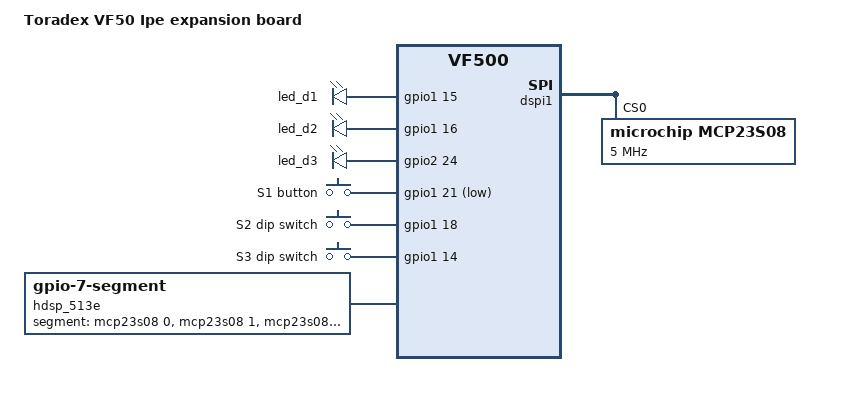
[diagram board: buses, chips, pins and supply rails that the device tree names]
/dts-v1/;

#include "vf500-colibri.dtsi"
#include "vf-colibri-eval-v3.dtsi"
#include "ipeboard.dtsi"

/ {
    model = "Toradex VF50 Ipe expansion board";
    compatible = "toradex,vf500-ipeboard","fsl,vf500";

    leds {
        compatible = "gpio-leds";

        led_d1: user_led_1 {
            label = "led_d1";
            gpios = <&gpio1 15 GPIO_ACTIVE_HIGH>;
        };

        led_d2: user_led_2 {
            label = "led_d2";
            gpios = <&gpio1 16 GPIO_ACTIVE_HIGH>;
        };

        led_d3: user_led_3 {
            label = "led_d3";
            gpios = <&gpio2 24 GPIO_ACTIVE_HIGH>;
        };
    };

    gpio-keys {
        compatible = "gpio-keys";
        #address-cells = <1>;
        #size-cells = <0>;

        s1_button {
            label = "S1 button";
            gpios = <&gpio1 21 GPIO_ACTIVE_LOW>;
            linux,code = <256>; /* BTN_0 */
            debounce-interval = <10>;
        };

        s2_dipswitch {
            label = "S2 dip switch";
            gpios = <&gpio1 18 GPIO_ACTIVE_HIGH>;
            linux,code = <257>; /* BTN_1 */
            debounce-interval = <10>;
        };

        s3_dipswitch {
            label = "S3 dip switch";
            gpios = <&gpio1 14 GPIO_ACTIVE_HIGH>;
            linux,code = <258>; /* BTN_2 */
            debounce-interval = <10>;
        };
    };

    hdsp_513e: seven-segment {
        compatible = "gpio-7-segment";
        columns = <1>;
        rows = <1>;

        segment-gpios = <&mcp23s08 0 GPIO_ACTIVE_HIGH>, /* GP0 -> Segmento A */
                        <&mcp23s08 1 GPIO_ACTIVE_HIGH>, /* GP1 -> Segmento B */
                        <&mcp23s08 2 GPIO_ACTIVE_HIGH>, /* GP2 -> Segmento C */
                        <&mcp23s08 3 GPIO_ACTIVE_HIGH>, /* GP3 -> Segmento D */
                        <&mcp23s08 4 GPIO_ACTIVE_HIGH>, /* GP4 -> Segmento E */
                        <&mcp23s08 5 GPIO_ACTIVE_HIGH>, /* GP5 -> Segmento F */
                        <&mcp23s08 6 GPIO_ACTIVE_HIGH>, /* GP6 -> Segmento G */
                        <&mcp23s08 7 GPIO_ACTIVE_HIGH>; /* GP7 -> DP (Ponto Decimal) */
    };
};

&iomuxc {
    /* Entramos no subnó padrão usado pela Toradex no Vybrid */
    vf610-colibri {
        /* Criamos um grupo totalmente NOVO e com nome exclusivo para evitar colisões */
        pinctrl_dspi1_custom: dspi1customgrp {
            fsl,pins = <
                28  0x1182  /* PAD_87: SPI1_SCK */
                27  0x1182  /* PAD_92: SPI1_SOUT */
                26  0x1182  /* PAD_85: SPI1_SIN */
                25  0x1182  /* PAD_84: SPI1_PCS0 */
            >;
        };
    };
};

&dspi1 {
    status = "okay";
    pinctrl-names = "default";
    
    /* Vinculamos o barramento estritamente ao nosso novo grupo customizado */
    pinctrl-0 = <&pinctrl_dspi1_custom>;

    #address-cells = <1>;
    #size-cells = <0>;

    /* Desativa os nós herdados conflitantes */
    can@0 {
        status = "disabled";
    };
    
    spidev@0 {
        status = "disabled";
    };

    /* Seu dispositivo assume o Chip Select 0 */
    mcp23s08: gpio@0 {
        compatible = "microchip,mcp23s08";
        reg = <0>;
        spi-max-frequency = <5000000>;     
        
        gpio-controller;
        #gpio-cells = <2>;
        
        microchip,spi-present-mask = <0x01>; 
        status = "okay";
    };
};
